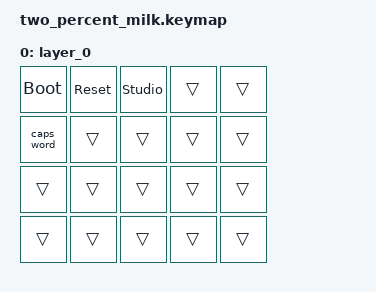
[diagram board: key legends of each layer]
/*
 * Copyright (c) 2022 The ZMK Contributors
 *
 * SPDX-License-Identifier: MIT
 */

#include <behaviors.dtsi>

/ {
    keymap {
        compatible = "zmk,keymap";

        layer_0 {
            bindings = <
        &bootloader  &sys_reset  &studio_unlock  &trans  &trans
        &caps_word   &trans      &trans          &trans  &trans
        &trans       &trans      &trans          &trans  &trans
&trans  &trans                   &trans                  &trans  &trans
            >;
        };
    };
};
